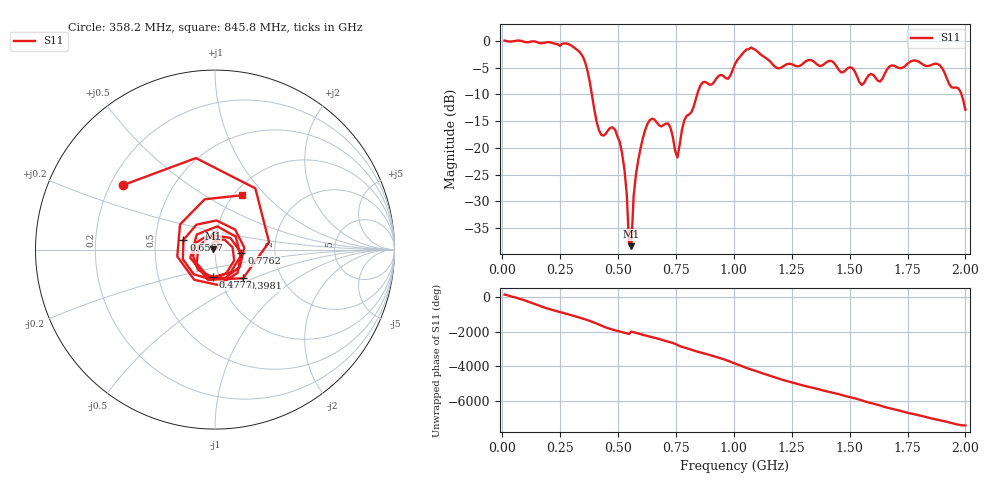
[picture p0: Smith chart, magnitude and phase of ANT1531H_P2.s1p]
!Created with skrf (http://scikit-rf.org).
# Hz S RI R 50.0
!freq ReS11 ImS11
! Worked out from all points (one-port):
!   201 points, 10 MHz to 2 GHz, reference 50 ohm
!   lowest |S11| = -38.4 dB at 557.2 MHz (marker M1), VSWR 1.02, Z = 48.9 + j0.465 ohm
!   |S11| at or under -10 dB: 386.8 MHz to 841.8 MHz (455 MHz wide, 74.1 % of centre); 1.983 GHz to end of sweep
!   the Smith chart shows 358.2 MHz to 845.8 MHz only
!   S11 on the Smith chart (normalised r, x): 358.2 MHz: 0.25, +0.30; 398.1 MHz: 1.29, -0.43; 477.6 MHz: 0.93, -0.30; 656.8 MHz: 0.70, +0.08; 776.1 MHz: 1.34, -0.05; 845.8 MHz: 1.09, +0.75
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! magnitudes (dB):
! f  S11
! 10 MHz  0.0
! 258.8 MHz  -0.6
! 358.2 MHz  -4.1
! 398.1 MHz  -13.0
! 427.9 MHz  -17.6
! 477.6 MHz  -16.2
! 507.5 MHz  -18.9
! 537.4 MHz  -28.6
! 547.3 MHz  -37.7
! 557.2 MHz  -38.4
! 567.2 MHz  -29.1
! 587.1 MHz  -22.3
! 626.9 MHz  -15.5
! 656.8 MHz  -14.7
! 716.5 MHz  -15.5
! 756.2 MHz  -21.8
! 776.1 MHz  -16.6
! 845.8 MHz  -9.4
! 975.1 MHz  -7.1
! 1.005 GHz  -4.4
! 1.075 GHz  -1.3
! 1.184 GHz  -5.0
! 1.254 GHz  -4.4
! 1.502 GHz  -4.9
! 1.552 GHz  -8.3
! 1.751 GHz  -4.2
! 1.891 GHz  -4.6
! 2 GHz  -12.9
